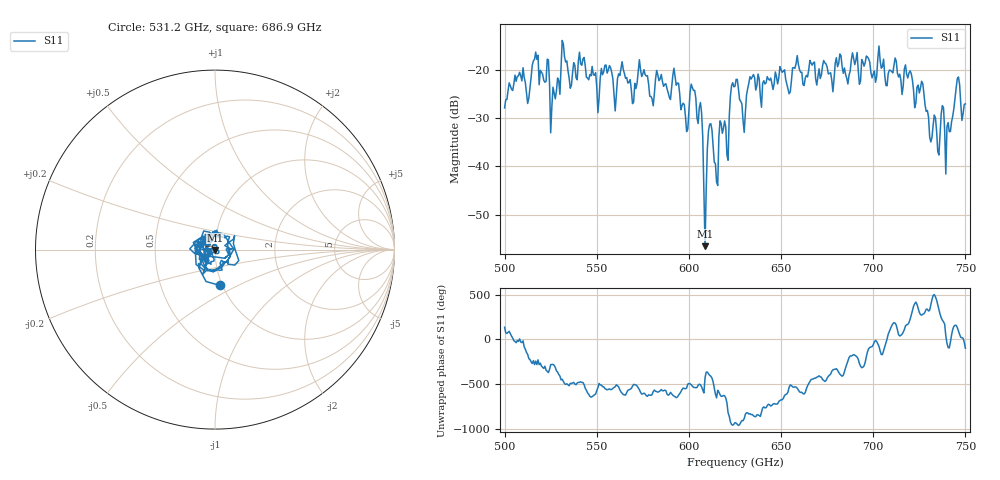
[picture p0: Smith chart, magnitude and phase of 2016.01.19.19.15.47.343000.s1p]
!Created with skrf (http://scikit-rf.org).
# GHz S RI R 50.0
!freq ReS11 ImS11
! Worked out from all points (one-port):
!   401 points, 500 GHz to 750 GHz, reference 50 ohm
!   lowest |S11| = -56.5 dB at 608.8 GHz (marker M1), VSWR 1.00, Z = 50.1 - j0.134 ohm
!   |S11| at or under -10 dB: start of sweep to end of sweep
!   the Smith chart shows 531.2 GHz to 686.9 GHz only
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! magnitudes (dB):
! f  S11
! 500 GHz  -27.9
! 506.9 GHz  -21.4
! 513.1 GHz  -25.9
! 516.9 GHz  -16.3
! 526.2 GHz  -23.6
! 531.2 GHz  -13.9
! 550.6 GHz  -28.9
! 562.5 GHz  -21.2
! 570 GHz  -26.7
! 574.4 GHz  -21.4
! 580 GHz  -26.0
! 593.8 GHz  -22.7
! 598.8 GHz  -32.8
! 602.5 GHz  -24.3
! 606.2 GHz  -26.8
! 608.8 GHz  -56.5
! 611.2 GHz  -31.3
! 615 GHz  -43.3
! 625 GHz  -23.4
! 629.4 GHz  -30.6
! 634.4 GHz  -21.4
! 656.2 GHz  -19.6
! 687.5 GHz  -20.2
! 718.8 GHz  -21.7
! 735 GHz  -36.9
! 740.6 GHz  -30.9
! 745.6 GHz  -21.8
! 750 GHz  -27.1
